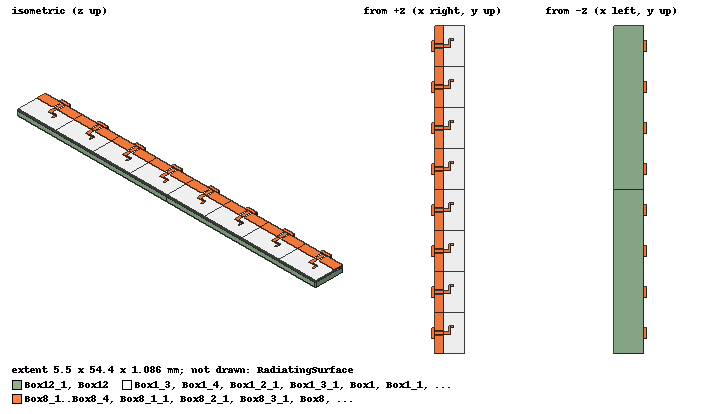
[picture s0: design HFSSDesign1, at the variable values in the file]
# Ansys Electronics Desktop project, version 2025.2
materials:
  vacuum: permittivity=1
  Rogers RO4350 (tm): permittivity=3.66 dielectric_loss_tangent=0.004
  copper: permeability=0.999991 conductivity=58000000
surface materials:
  Steel-oxidised-surface

design HFSSDesign1 (HFSS, HFSS Modal Network, model units mm)
options: Save_Adaptive_support_files
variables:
  w_board = 6.8mm
  l_board = 5mm
  h_board = 0.254mm
  l_gndcopper = 1.5mm
  w_cpwg = 0.45mm
  d_cpwg = 0.254mm
  l_adap = 1.1mm
  w_adap = 0.5mm
  w_ele = 0.2mm
  l_ele = 0mm
  l_eletot = 2mm
  l_ele1 = 1.225mm
  x_dir = 3.6mm
  l_dir = 4mm
  w_dir = 0.2mm
  w2 = 0.25mm
  l2 = 0.6mm
  phi1 = 0deg
  phi3 = 3*dphi
  phi2 = 2*dphi
  phi4 = 4*dphi
  dphi = 40deg
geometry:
  Box1 [Rogers RO4350 (tm)] = box(corner=(0mm, -w_board/2, 0mm), size=(l_board, w_board, h_board))
  Box2 [copper] = box(corner=(0mm, -w_board/2, 0mm), size=(l_gndcopper, w_board, -0.035mm))
  Box3 [copper] = box(corner=(0mm, -w_cpwg/2, h_board), size=(l_gndcopper, w_cpwg, 0.035mm))
  Box4 [copper] = box(corner=(0mm, w_cpwg/2+d_cpwg, h_board), size=(1.5mm, w_board/2-w_cpwg/2-d_cpwg, 0.035mm))
  Box5 [copper] = box(corner=(0mm, -w_cpwg/2-d_cpwg, h_board), size=(1.5mm, -w_board/2+w_cpwg/2+d_cpwg, 0.035mm))
  Polyline1 [copper] = polyline(z=h_board, xy: (l_gndcopper, w_cpwg/2) (l_adap+l_gndcopper, w_adap/2) (l_adap+l_gndcopper, -w_adap/2) (l_gndcopper, -w_cpwg/2) (l_gndcopper, w_cpwg/2), covered)
  Polyline1.sweep_along_vector((0mm, 0mm, 0.035mm))
  Box6 = box(corner=(l_adap+l_gndcopper, 0mm, h_board), size=(-w_ele, l_ele1, 0.035mm))
  Polyline2 [copper] = polyline(z=h_board, xy: (l_gndcopper, w_cpwg/2) (l_adap+l_gndcopper, w_adap/2) (l_adap+l_gndcopper, -w_adap/2) (l_gndcopper, -w_cpwg/2) (l_gndcopper, w_cpwg/2), covered)
  Polyline2.sweep_along_vector((0mm, 0mm, 0.035mm))
  Box7 = box(corner=(l_adap+l_gndcopper, 0mm, 0), size=(-w_ele, -l_eletot+l_ele1, -0.035mm))
  Polyline2.move(0mm, 0mm, -h_board-0.035mm)
  Rectangle1 = rectangle(corner=(0mm, -w_cpwg-d_cpwg, h_board+0.035mm), y_size=w_cpwg*2+d_cpwg*2, z_size=-h_board-0.035mm*2)
  Box8 [copper] = box(corner=(0mm, 0.85mm, -0.035mm), size=(-0.5mm, -1.7mm, 0.324mm))
  Polyline1.unite(Box6)
  Polyline2.unite(Box7)
  Box10 [copper] = box(corner=(l_adap+l_gndcopper, l_ele1, 0.254mm), size=(l2, -w2, 0.035mm))
  Box11 [copper] = box(corner=(l_adap+l_gndcopper-w_ele, -l_eletot+l_ele1, 0), size=(-l2, w2, -0.035mm))
  Box1_1, Box1_2, Box1_3 [Rogers RO4350 (tm)] = Box1.duplicate_along_line(step=(0mm, 6.8mm, 0mm), total=4)
  Box2_1, Box2_2, Box2_3 [copper] = Box2.duplicate_along_line(step=(0mm, 6.8mm, 0mm), total=4)
  Box3_1, Box3_2, Box3_3 [copper] = Box3.duplicate_along_line(step=(0mm, 6.8mm, 0mm), total=4)
  Box4_1, Box4_2, Box4_3 [copper] = Box4.duplicate_along_line(step=(0mm, 6.8mm, 0mm), total=4)
  Box5_1, Box5_2, Box5_3 [copper] = Box5.duplicate_along_line(step=(0mm, 6.8mm, 0mm), total=4)
  Polyline1_1, Polyline1_2, Polyline1_3 [copper] = Polyline1.duplicate_along_line(step=(0mm, 6.8mm, 0mm), total=4)
  Polyline2_1, Polyline2_2, Polyline2_3 [copper] = Polyline2.duplicate_along_line(step=(0mm, 6.8mm, 0mm), total=4)
  Rectangle1_1, Rectangle1_2, Rectangle1_3 = Rectangle1.duplicate_along_line(step=(0mm, 6.8mm, 0mm), total=4)
  Box8_1, Box8_2, Box8_3 [copper] = Box8.duplicate_along_line(step=(0mm, 6.8mm, 0mm), total=4)
  Box10_1, Box10_2, Box10_3 [copper] = Box10.duplicate_along_line(step=(0mm, 6.8mm, 0mm), total=4)
  Box11_1, Box11_2, Box11_3 [copper] = Box11.duplicate_along_line(step=(0mm, 6.8mm, 0mm), total=4)
  Box12 [Rogers RO4350 (tm)] = box(corner=(0mm, 23.8mm, -0.035mm), size=(5mm, -27.2mm, -0.762mm))
  Box1_4 [Rogers RO4350 (tm)] = Box1.duplicate_along_line(step=(0mm, 27.2mm, 0mm), total=2)
  Box2_4 [copper] = Box2.duplicate_along_line(step=(0mm, 27.2mm, 0mm), total=2)
  Box3_4 [copper] = Box3.duplicate_along_line(step=(0mm, 27.2mm, 0mm), total=2)
  Box4_4 [copper] = Box4.duplicate_along_line(step=(0mm, 27.2mm, 0mm), total=2)
  Box5_4 [copper] = Box5.duplicate_along_line(step=(0mm, 27.2mm, 0mm), total=2)
  Polyline1_4 [copper] = Polyline1.duplicate_along_line(step=(0mm, 27.2mm, 0mm), total=2)
  Polyline2_4 [copper] = Polyline2.duplicate_along_line(step=(0mm, 27.2mm, 0mm), total=2)
  Box8_4 [copper] = Box8.duplicate_along_line(step=(0mm, 27.2mm, 0mm), total=2)
  Rectangle1_4 = Rectangle1.duplicate_along_line(step=(0mm, 27.2mm, 0mm), total=2)
  Box10_4 [copper] = Box10.duplicate_along_line(step=(0mm, 27.2mm, 0mm), total=2)
  Box11_4 [copper] = Box11.duplicate_along_line(step=(0mm, 27.2mm, 0mm), total=2)
  Box1_1_1 [Rogers RO4350 (tm)] = Box1_1.duplicate_along_line(step=(0mm, 27.2mm, 0mm), total=2)
  Box1_2_1 [Rogers RO4350 (tm)] = Box1_2.duplicate_along_line(step=(0mm, 27.2mm, 0mm), total=2)
  Box1_3_1 [Rogers RO4350 (tm)] = Box1_3.duplicate_along_line(step=(0mm, 27.2mm, 0mm), total=2)
  Box2_1_1 [copper] = Box2_1.duplicate_along_line(step=(0mm, 27.2mm, 0mm), total=2)
  Box2_2_1 [copper] = Box2_2.duplicate_along_line(step=(0mm, 27.2mm, 0mm), total=2)
  Box2_3_1 [copper] = Box2_3.duplicate_along_line(step=(0mm, 27.2mm, 0mm), total=2)
  Box3_1_1 [copper] = Box3_1.duplicate_along_line(step=(0mm, 27.2mm, 0mm), total=2)
  Box3_2_1 [copper] = Box3_2.duplicate_along_line(step=(0mm, 27.2mm, 0mm), total=2)
  Box3_3_1 [copper] = Box3_3.duplicate_along_line(step=(0mm, 27.2mm, 0mm), total=2)
  Box4_1_1 [copper] = Box4_1.duplicate_along_line(step=(0mm, 27.2mm, 0mm), total=2)
  Box4_2_1 [copper] = Box4_2.duplicate_along_line(step=(0mm, 27.2mm, 0mm), total=2)
  Box4_3_1 [copper] = Box4_3.duplicate_along_line(step=(0mm, 27.2mm, 0mm), total=2)
  Box5_1_1 [copper] = Box5_1.duplicate_along_line(step=(0mm, 27.2mm, 0mm), total=2)
  Box5_2_1 [copper] = Box5_2.duplicate_along_line(step=(0mm, 27.2mm, 0mm), total=2)
  Box5_3_1 [copper] = Box5_3.duplicate_along_line(step=(0mm, 27.2mm, 0mm), total=2)
  Polyline1_1_1 [copper] = Polyline1_1.duplicate_along_line(step=(0mm, 27.2mm, 0mm), total=2)
  Polyline1_2_1 [copper] = Polyline1_2.duplicate_along_line(step=(0mm, 27.2mm, 0mm), total=2)
  Polyline1_3_1 [copper] = Polyline1_3.duplicate_along_line(step=(0mm, 27.2mm, 0mm), total=2)
  Polyline2_1_1 [copper] = Polyline2_1.duplicate_along_line(step=(0mm, 27.2mm, 0mm), total=2)
  Polyline2_2_1 [copper] = Polyline2_2.duplicate_along_line(step=(0mm, 27.2mm, 0mm), total=2)
  Polyline2_3_1 [copper] = Polyline2_3.duplicate_along_line(step=(0mm, 27.2mm, 0mm), total=2)
  Rectangle1_1_1 = Rectangle1_1.duplicate_along_line(step=(0mm, 27.2mm, 0mm), total=2)
  Rectangle1_2_1 = Rectangle1_2.duplicate_along_line(step=(0mm, 27.2mm, 0mm), total=2)
  Rectangle1_3_1 = Rectangle1_3.duplicate_along_line(step=(0mm, 27.2mm, 0mm), total=2)
  Box8_1_1 [copper] = Box8_1.duplicate_along_line(step=(0mm, 27.2mm, 0mm), total=2)
  Box8_2_1 [copper] = Box8_2.duplicate_along_line(step=(0mm, 27.2mm, 0mm), total=2)
  Box8_3_1 [copper] = Box8_3.duplicate_along_line(step=(0mm, 27.2mm, 0mm), total=2)
  Box10_1_1 [copper] = Box10_1.duplicate_along_line(step=(0mm, 27.2mm, 0mm), total=2)
  Box10_2_1 [copper] = Box10_2.duplicate_along_line(step=(0mm, 27.2mm, 0mm), total=2)
  Box10_3_1 [copper] = Box10_3.duplicate_along_line(step=(0mm, 27.2mm, 0mm), total=2)
  Box11_1_1 [copper] = Box11_1.duplicate_along_line(step=(0mm, 27.2mm, 0mm), total=2)
  Box11_2_1 [copper] = Box11_2.duplicate_along_line(step=(0mm, 27.2mm, 0mm), total=2)
  Box11_3_1 [copper] = Box11_3.duplicate_along_line(step=(0mm, 27.2mm, 0mm), total=2)
  Box12_1 [Rogers RO4350 (tm)] = Box12.duplicate_along_line(step=(0mm, 27.2mm, 0mm), total=2)
  RadiatingSurface [vacuum] = region(absolute_offset=2.1276596mm on all sides)
  group ANT1 = Box1..Box5, Polyline1, Polyline2, Rectangle1, Box8, Box10, Box11, Box1_1, Box1_2, Box1_3, Box2_1, Box2_2, Box2_3, Box3_1, Box3_2, Box3_3, Box4_1, Box4_2, Box4_3, Box5_1, Box5_2, Box5_3, Polyline1_1, Polyline1_2, Polyline1_3, Polyline2_1, Polyline2_2, Polyline2_3, Rectangle1_1, Rectangle1_2, Rectangle1_3, Box8_1, Box8_2, Box8_3, Box10_1, Box10_2, Box10_3, Box11_1, Box11_2, Box11_3, Box1_4, Box2_4, Box3_4, Box4_4, Box5_4, Polyline1_4, Polyline2_4, Box8_4, Rectangle1_4, Box10_4, Box11_4, Box1_1_1, Box1_2_1, Box1_3_1, Box2_1_1, Box2_2_1, Box2_3_1, Box3_1_1, Box3_2_1, Box3_3_1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
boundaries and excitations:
  Open1: Radiation Objects=RadiatingSurface
  1: Wave Port Objects=Rectangle1 WavePortType=Modal NumModes=1 Modes{Mode1{IntLine{(0, 0, 0) -> (0, 0, 0.254)} CharImp=Zpi RenormImp=50ohm}}
  2: Wave Port Objects=Rectangle1_1 WavePortType=Modal NumModes=1 Modes{Mode1{IntLine{(0, 6.8, 0.289) -> (0, 6.8, -0.035)} CharImp=Zpi RenormImp=50ohm}}
  3: Wave Port Objects=Rectangle1_2 WavePortType=Modal NumModes=1 Modes{Mode1{IntLine{(0, 13.6, 0.254) -> (0, 13.59375, -0.035)} CharImp=Zpi RenormImp=50ohm}}
  4: Wave Port Objects=Rectangle1_3 WavePortType=Modal NumModes=1 Modes{Mode1{IntLine{(0, 20.4, 0.289) -> (0, 20.4, -0.035)} CharImp=Zpi RenormImp=50ohm}}
  5: Wave Port Objects=Rectangle1_4 WavePortType=Modal NumModes=1 Modes{Mode1{IntLine{(0, 27.2, 0) -> (0, 27.2, 0.254)} CharImp=Zpi RenormImp=50ohm}}
  6: Wave Port Objects=Rectangle1_1_1 WavePortType=Modal NumModes=1 Modes{Mode1{IntLine{(0, 34, 0.289) -> (0, 34, -0.035)} CharImp=Zpi RenormImp=50ohm}}
  7: Wave Port Objects=Rectangle1_2_1 WavePortType=Modal NumModes=1 Modes{Mode1{IntLine{(0, 40.8, 0.254) -> (0, 40.79375, -0.035)} CharImp=Zpi RenormImp=50ohm}}
  8: Wave Port Objects=Rectangle1_3_1 WavePortType=Modal NumModes=1 Modes{Mode1{IntLine{(0, 47.6, 0.289) -> (0, 47.6, -0.035)} CharImp=Zpi RenormImp=50ohm}}
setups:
  Setup1: HfssDrivenAuto disabled AutoSolverSetting=Balanced Type=Interpolating
    sweep Sweep: 40GHz to 54GHz, 501 points;
  Setup2: HfssDriven Frequency=47GHz MaxDeltaS=0.03 MaximumPasses=8 MinimumPasses=1 MinimumConvergedPasses=1 PercentRefinement=30 BasisOrder=1 PortAccuracy=2 DrivenSolverType="Direct Solver"
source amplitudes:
  1:1, 2:1, 3:1, 4:1, 5:1, 6:1, 7:1, 8:1: 1W 0deg
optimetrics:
  ParametricSetup1: Parametric Sim._Setups=[Setup2]
    sweep dphi: LIN 0deg 360deg 30deg
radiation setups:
  SphereInteger: Infinite Sphere Theta=0deg..180deg step 1deg Phi=-180deg..180deg step 1deg
  SphereOffset: Infinite Sphere Theta=0.5deg..179.5deg step 1deg Phi=-179.5deg..179.5deg step 1deg
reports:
  S Parameter Plot 1: dB(S(1,1)), dB(S(2,2)), dB(S(3,3)), dB(S(4,4)) vs Freq on Setup1 : Sweep
  S Parameter Plot 2: dB(S(2,1)), dB(S(3,2)), dB(S(4,3)) vs Freq on Setup1 : Sweep
  S Parameter Plot 3: dB(S(3,1)), dB(S(4,1)), dB(S(4,2)) vs Freq on Setup1 : Sweep
  Variables Plot1: dB(Freq) vs Freq on Setup1 : Sweep [Phase=0deg dphi=all]
